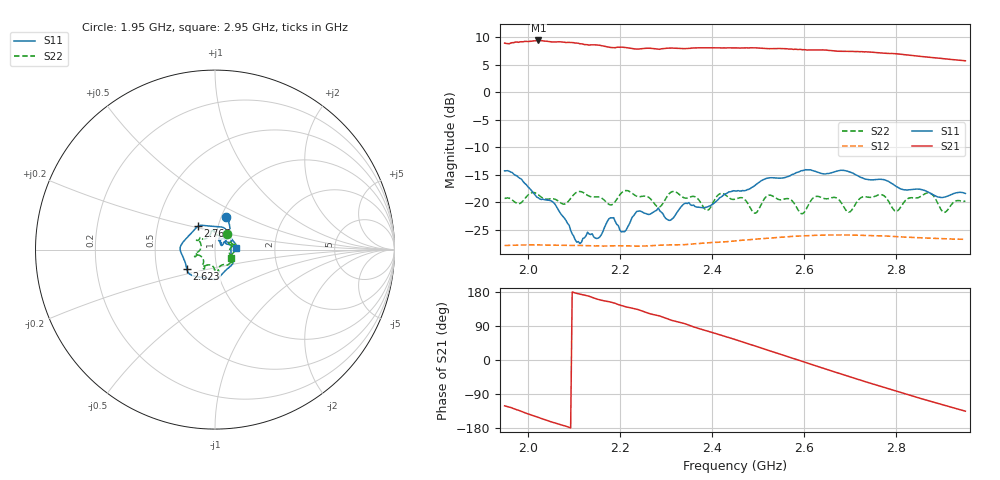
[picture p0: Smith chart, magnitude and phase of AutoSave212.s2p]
!Agilent N9923A: A.07.32
!Date: Thursday, 02 June 2016 02:09:20
!Model: N9923A
!Serial: MY52412257
!GPS Latitude:
!GPS Longitude:
!GPS TimeStamp: 0001-01-01 00:00:00Z
!GPS Seconds Since Last Read: 0
!CHECKSUM:1007720907
!Correction: S11(ON U)S21(ON U)S12(ON U)S22(ON U)
!S2P File: Measurements:S11,S21,S12,S22:
# Hz S DB R 50
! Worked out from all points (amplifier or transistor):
!   301 points, 1.95 GHz to 2.95 GHz, reference 50 ohm
!   highest |S21| = 9.4 dB at 2.023 GHz (marker M1)
!   |S21| within 3 dB of that: start of sweep to 2.864 GHz
!   unconditionally stable (mu >= 1): start of sweep to end of sweep
!   at 2.117 GHz: K = 4.48, MAG = 8.9 dB, |S12| = -27.9 dB
!   at 2.45 GHz: K = 4.40, MAG = 8.2 dB, |S12| = -27.1 dB
!   at 2.95 GHz: K = 5.57, MAG = 5.8 dB, |S12| = -26.8 dB
!   S11 on the Smith chart (normalised r, x): 1.95 GHz: 1.05, +0.40; 2.623 GHz: 0.71, -0.16; 2.767 GHz: 0.80, +0.21; 2.95 GHz: 1.27, +0.02
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1.95e9  -14.33 72.0  8.93 -121.0  -27.90 -143.9  -19.35 52.1
1.983333e9  -15.69 61.5  9.16 -134.2  -27.83 -156.9  -20.26 24.1
2.023333e9  -19.24 41.2  9.41 -151.9  -27.80 -172.7  -18.68 14.2
2.07e9  -21.90 31.4  9.17 -170.3  -27.87 169.9  -20.05 -13.7
2.12e9  -26.62 49.8  8.75 172.1  -27.90 151.8  -18.24 -35.7
2.18e9  -22.87 69.1  8.13 152.9  -27.98 131.2  -20.53 -65.9
2.206667e9  -25.36 66.7  8.18 142.3  -27.97 122.1  -18.11 -80.8
2.286667e9  -21.59 42.4  7.81 116.4  -27.85 95.8  -20.89 -108.8
2.31e9  -23.32 30.1  8.03 105.7  -27.80 88.0  -18.26 -121.7
2.366667e9  -20.90 7.1  8.07 84.8  -27.57 69.5  -19.19 -129.8
2.453333e9  -17.98 -43.2  8.06 52.7  -27.06 40.2  -19.40 -170.8
2.493333e9  -16.98 -73.3  8.07 37.2  -26.76 25.7  -22.04 170.3
2.546667e9  -15.66 -99.9  7.95 16.1  -26.43 6.5  -19.58 147.3
2.596667e9  -14.28 -133.0  7.73 -4.2  -26.17 -12.6  -22.12 120.7
2.62e9  -14.30 -143.7  7.68 -13.5  -26.08 -21.8  -19.23 101.8
2.623333e9  -14.39 -145.5  7.68 -14.8  -26.07 -23.0  -19.05 102.0
2.706667e9  -14.78 166.4  7.41 -47.2  -26.00 -55.3  -21.05 59.7
2.766667e9  -15.86 126.3  7.11 -69.9  -26.15 -77.9  -18.65 47.0
2.783333e9  -16.26 118.3  7.07 -76.1  -26.20 -83.9  -19.87 47.9
2.856667e9  -17.76 64.1  6.47 -102.8  -26.53 -109.9  -18.80 5.1
2.903333e9  -19.13 30.5  6.09 -119.1  -26.66 -125.5  -21.89 -4.8
2.95e9  -18.44 3.1  5.71 -135.0  -26.79 -141.1  -19.82 -27.5
